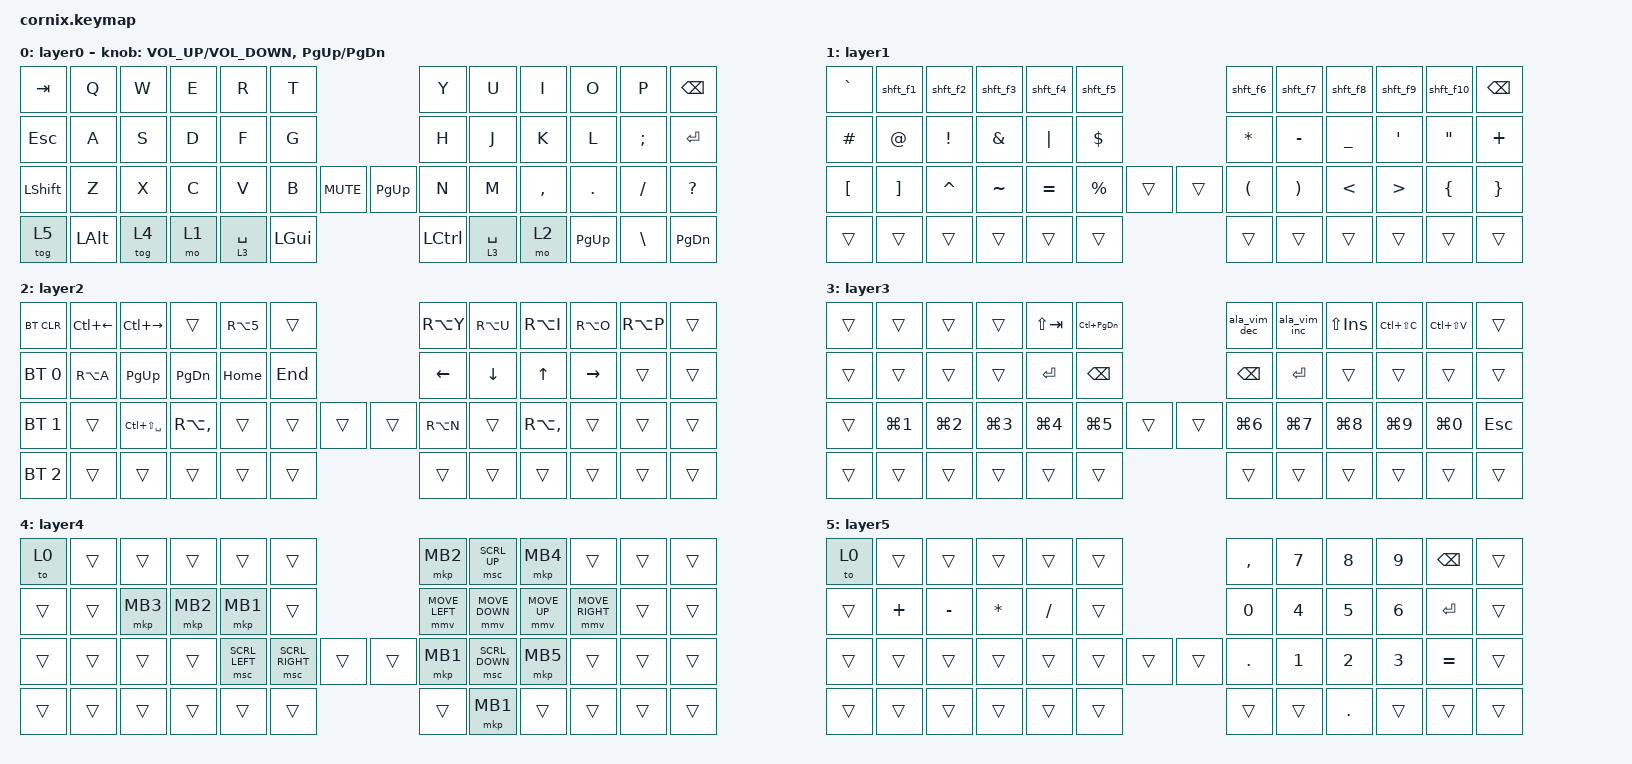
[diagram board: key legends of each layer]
/*
 * Copyright (c) 2024 The ZMK Contributors
 *
 * SPDX-License-Identifier: MIT
 */

#include <behaviors.dtsi>
#include <dt-bindings/zmk/bt.h>
#include <dt-bindings/zmk/keys.h>
#include <dt-bindings/zmk/pointing.h>

/ {
    macros {
        // Decrease Alacritty font (Ctrl -) and equalize Vim panes (Ctrl W, =)
        ala_vim_dec: ala_vim_dec {
            compatible = "zmk,behavior-macro";
            #binding-cells = <0>;
            wait-ms = <40>;
            tap-ms = <40>;
            bindings = <&kp LC(MINUS)>, <&kp LC(W)>, <&kp EQUAL>;
        };

        // Increase Alacritty font (Ctrl =) and equalize Vim panes (Ctrl W, =)
        ala_vim_inc: ala_vim_inc {
            compatible = "zmk,behavior-macro";
            #binding-cells = <0>;
            wait-ms = <40>;
            tap-ms = <40>;
            bindings = <&kp LC(EQUAL)>, <&kp LC(W)>, <&kp EQUAL>;
        };
    };

    behaviors {
        shft_f1: shift_f1 { compatible = "zmk,behavior-mod-morph"; #binding-cells = <0>; bindings = <&kp N1>, <&kp F1>; mods = <(MOD_LSFT|MOD_RSFT)>; };
        shft_f2: shift_f2 { compatible = "zmk,behavior-mod-morph"; #binding-cells = <0>; bindings = <&kp N2>, <&kp F2>; mods = <(MOD_LSFT|MOD_RSFT)>; };
        shft_f3: shift_f3 { compatible = "zmk,behavior-mod-morph"; #binding-cells = <0>; bindings = <&kp N3>, <&kp F3>; mods = <(MOD_LSFT|MOD_RSFT)>; };
        shft_f4: shift_f4 { compatible = "zmk,behavior-mod-morph"; #binding-cells = <0>; bindings = <&kp N4>, <&kp F4>; mods = <(MOD_LSFT|MOD_RSFT)>; };
        shft_f5: shift_f5 { compatible = "zmk,behavior-mod-morph"; #binding-cells = <0>; bindings = <&kp N5>, <&kp F5>; mods = <(MOD_LSFT|MOD_RSFT)>; };
        shft_f6: shift_f6 { compatible = "zmk,behavior-mod-morph"; #binding-cells = <0>; bindings = <&kp N6>, <&kp F6>; mods = <(MOD_LSFT|MOD_RSFT)>; };
        shft_f7: shift_f7 { compatible = "zmk,behavior-mod-morph"; #binding-cells = <0>; bindings = <&kp N7>, <&kp F7>; mods = <(MOD_LSFT|MOD_RSFT)>; };
        shft_f8: shift_f8 { compatible = "zmk,behavior-mod-morph"; #binding-cells = <0>; bindings = <&kp N8>, <&kp F8>; mods = <(MOD_LSFT|MOD_RSFT)>; };
        shft_f9: shift_f9 { compatible = "zmk,behavior-mod-morph"; #binding-cells = <0>; bindings = <&kp N9>, <&kp F9>; mods = <(MOD_LSFT|MOD_RSFT)>; };
        shft_f10: shift_f10 { compatible = "zmk,behavior-mod-morph"; #binding-cells = <0>; bindings = <&kp N0>, <&kp F10>; mods = <(MOD_LSFT|MOD_RSFT)>; };
    };

    combos {
        compatible = "zmk,combos";

        // Combo to flash keyboard (DFU)
        combo_bootloader {
            timeout-ms = <50>;
            key-positions = <0 11>;
            bindings = <&bootloader>;
        };
    };

    keymap {
        compatible = "zmk,keymap";

        // Default Layer.
        layer0 {
            bindings = <
&kp TAB    &kp Q    &kp W  &kp E &kp R       &kp T                             &kp Y     &kp U       &kp I      &kp O       &kp P    &kp BSPC
&kp ESC    &kp A    &kp S  &kp D &kp F       &kp G                             &kp H     &kp J       &kp K      &kp L       &kp SEMI &kp RET
&kp LSHFT  &kp Z    &kp X  &kp C &kp V       &kp B    &kp K_MUTE  &kp PAGE_UP  &kp N     &kp M       &kp COMMA  &kp DOT     &kp FSLH &kp QUESTION
&tog 5     &kp LALT &tog 4 &mo 1 &lt 3 SPACE &kp LGUI                          &kp LCTRL &lt 3 SPACE &mo 2      &kp PAGE_UP &kp BSLH &kp PAGE_DOWN
            >;

            sensor-bindings =
                <&inc_dec_kp C_VOLUME_UP C_VOLUME_DOWN>,
                <&inc_dec_kp PAGE_UP PAGE_DOWN>;
        };

        // Red layer -- symbols
        layer1 {
            bindings = <
&kp GRAVE &shft_f1 &shft_f2  &shft_f3  &shft_f4  &shft_f5                   &shft_f6    &shft_f7   &shft_f8  &shft_f9         &shft_f10         &kp BSPC
&kp HASH  &kp AT   &kp EXCL  &kp AMPS  &kp PIPE  &kp DLLR                   &kp ASTRK   &kp MINUS  &kp UNDER &kp SINGLE_QUOTE &kp DOUBLE_QUOTES &kp PLUS
&kp LBKT  &kp RBKT &kp CARET &kp TILDE &kp EQUAL &kp PERCENT &trans  &trans &kp LPAR    &kp RPAR   &kp LT    &kp GT           &kp LBRC          &kp RBRC
&trans    &trans   &trans    &trans    &trans    &trans                     &trans      &trans     &trans    &trans           &trans            &trans
            >;
        };

        // Layer green -- navigation
        layer2 {
            bindings = <
&bt BT_CLR    &kp LC(LEFT) &kp LC(RIGHT)     &trans    &kp RA(N5)    &trans                    &kp RA(Y)  &kp RA(U)  &kp RA(I)  &kp RA(O)  &kp RA(P) &trans
&bt BT_SEL 0  &kp RA(A)    &kp PG_UP         &kp PG_DN &kp HOME      &kp END                   &kp LEFT   &kp DOWN   &kp UP     &kp RIGHT  &trans    &trans
&bt BT_SEL 1  &trans       &kp LC(LS(SPACE))           &kp RA(COMMA) &trans     &trans     &trans  &trans &kp RA(N)  &trans     &kp RA(COMMA)  &trans &trans    &trans
&bt BT_SEL 2  &trans       &trans            &trans    &trans     &trans                    &trans     &trans     &trans         &trans &trans    &trans
            >;
        };

        // Layer spacebar -- apps and desktop manager
        layer3 {
            bindings = <
&trans  &trans     &trans      &trans     &kp LS(TAB) &kp LC(PG_DN)                &ala_vim_dec &ala_vim_inc  &kp LS(INS) &kp LC(LS(C)) &kp LC(LS(V)) &trans
&trans  &trans     &trans      &trans     &kp RET     &kp BSPC                     &kp BSPC     &kp RET       &trans      &trans        &trans        &trans
&trans  &kp LG(N1) &kp LG(N2)  &kp LG(N3) &kp LG(N4)  &kp LG(N5)    &trans  &trans &kp LG(N6)   &kp LG(N7)    &kp LG(N8)  &kp LG(N9)    &kp LG(N0)    &kp ESC
&trans  &trans     &trans      &trans     &trans      &trans                                  &trans       &trans        &trans      &trans        &trans        &trans
            >;
        }; // layer 3

        // Mouse layer (Layer 4)
        layer4 {
            bindings = <
&to 0   &trans     &trans       &trans    &trans          &trans                        &mkp MB2        &msc SCRL_UP    &mkp MB4        &trans           &trans  &trans
&trans  &trans     &mkp MB3     &mkp MB2  &mkp MB1        &trans                        &mmv MOVE_LEFT  &mmv MOVE_DOWN  &mmv MOVE_UP    &mmv MOVE_RIGHT  &trans  &trans
&trans  &trans     &trans       &trans    &msc SCRL_LEFT  &msc SCRL_RIGHT &trans &trans &mkp MB1        &msc SCRL_DOWN  &mkp MB5        &trans           &trans  &trans
&trans  &trans     &trans       &trans    &trans          &trans                        &trans          &mkp MB1        &trans          &trans           &trans  &trans
            >;
        };

        // Numpad Layer (Layer 5)
        layer5 {
            bindings = <
&to 0   &trans     &trans     &trans    &trans   &trans               &kp COMMA  &kp N7     &kp N8     &kp N9     &kp BSPC   &trans
&trans  &kp PLUS   &kp MINUS  &kp ASTRK &kp FSLH &trans               &kp N0     &kp N4     &kp N5     &kp N6     &kp RET    &trans
&trans  &trans     &trans     &trans    &trans   &trans &trans &trans &kp DOT    &kp N1     &kp N2     &kp N3     &kp EQUAL  &trans
&trans  &trans     &trans     &trans    &trans   &trans               &trans     &trans     &kp DOT    &trans     &trans     &trans
            >;
        };
    }; // keymap
}; // close root
